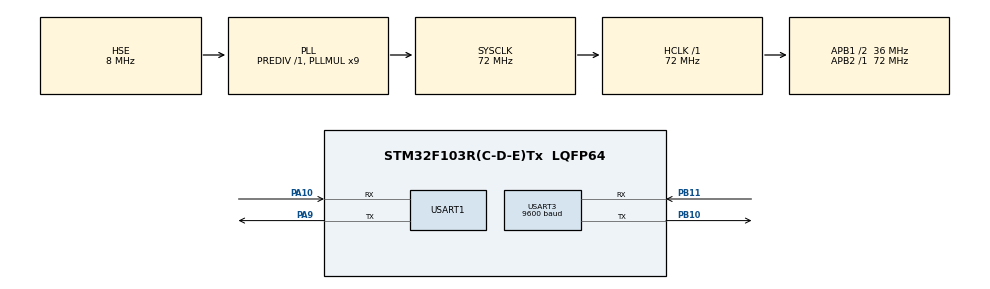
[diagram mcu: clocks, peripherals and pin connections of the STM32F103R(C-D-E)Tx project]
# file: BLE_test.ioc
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Dma.Request0=USART3_RX
Dma.Request1=USART1_RX
Dma.Request2=USART1_TX
Dma.Request3=USART3_TX
Dma.USART1_RX.1.Direction=DMA_PERIPH_TO_MEMORY
Dma.USART1_RX.1.Instance=DMA1_Channel5
Dma.USART1_RX.1.MemDataAlignment=DMA_MDATAALIGN_BYTE
Dma.USART1_RX.1.MemInc=DMA_MINC_ENABLE
Dma.USART1_RX.1.Mode=DMA_NORMAL
Dma.USART1_RX.1.PeriphDataAlignment=DMA_PDATAALIGN_BYTE
Dma.USART1_RX.1.PeriphInc=DMA_PINC_DISABLE
Dma.USART1_RX.1.Priority=DMA_PRIORITY_LOW
Dma.USART1_TX.2.Direction=DMA_MEMORY_TO_PERIPH
Dma.USART1_TX.2.Instance=DMA1_Channel4
Dma.USART1_TX.2.MemDataAlignment=DMA_MDATAALIGN_BYTE
Dma.USART1_TX.2.MemInc=DMA_MINC_ENABLE
Dma.USART1_TX.2.Mode=DMA_NORMAL
Dma.USART1_TX.2.PeriphDataAlignment=DMA_PDATAALIGN_BYTE
Dma.USART1_TX.2.PeriphInc=DMA_PINC_DISABLE
Dma.USART1_TX.2.Priority=DMA_PRIORITY_LOW
Dma.USART3_RX.0.Direction=DMA_PERIPH_TO_MEMORY
Dma.USART3_RX.0.Instance=DMA1_Channel3
Dma.USART3_RX.0.MemDataAlignment=DMA_MDATAALIGN_BYTE
Dma.USART3_RX.0.MemInc=DMA_MINC_ENABLE
Dma.USART3_RX.0.Mode=DMA_NORMAL
Dma.USART3_RX.0.PeriphDataAlignment=DMA_PDATAALIGN_BYTE
Dma.USART3_RX.0.PeriphInc=DMA_PINC_DISABLE
Dma.USART3_RX.0.Priority=DMA_PRIORITY_LOW
Dma.USART3_TX.3.Direction=DMA_MEMORY_TO_PERIPH
Dma.USART3_TX.3.Instance=DMA1_Channel2
Dma.USART3_TX.3.MemDataAlignment=DMA_MDATAALIGN_BYTE
Dma.USART3_TX.3.MemInc=DMA_MINC_ENABLE
Dma.USART3_TX.3.Mode=DMA_NORMAL
Dma.USART3_TX.3.PeriphDataAlignment=DMA_PDATAALIGN_BYTE
Dma.USART3_TX.3.PeriphInc=DMA_PINC_DISABLE
Dma.USART3_TX.3.Priority=DMA_PRIORITY_LOW
Mcu.Family=STM32F1
Mcu.Name=STM32F103R(C-D-E)Tx
Mcu.Package=LQFP64
NVIC.DMA1_Channel2_IRQn=true\:0\:0\:false\:false\:true\:false\:true
NVIC.DMA1_Channel3_IRQn=true\:0\:0\:false\:false\:true\:false\:true
NVIC.DMA1_Channel4_IRQn=true\:0\:0\:false\:false\:true\:false\:true
NVIC.DMA1_Channel5_IRQn=true\:0\:0\:false\:false\:true\:false\:true
NVIC.PriorityGroup=NVIC_PRIORITYGROUP_4
PA10.Mode=Asynchronous
PA10.Signal=USART1_RX
PA13.Mode=Serial_Wire
PA13.Signal=SYS_JTMS-SWDIO
PA14.Mode=Serial_Wire
PA14.Signal=SYS_JTCK-SWCLK
PA9.Mode=Asynchronous
PA9.Signal=USART1_TX
PB10.Mode=Asynchronous
PB10.Signal=USART3_TX
PB11.Mode=Asynchronous
PB11.Signal=USART3_RX
PC14-OSC32_IN.Mode=LSE-External-Oscillator
PC14-OSC32_IN.Signal=RCC_OSC32_IN
PC15-OSC32_OUT.Mode=LSE-External-Oscillator
PC15-OSC32_OUT.Signal=RCC_OSC32_OUT
PD0-OSC_IN.Mode=HSE-External-Oscillator
PD0-OSC_IN.Signal=RCC_OSC_IN
PD1-OSC_OUT.Mode=HSE-External-Oscillator
PD1-OSC_OUT.Signal=RCC_OSC_OUT
ProjectManager.HeapSize=0x200
ProjectManager.StackSize=0x400
ProjectManager.TargetToolchain=MDK-ARM V5.27
RCC.AHBFreq_Value=72000000
RCC.APB1CLKDivider=RCC_HCLK_DIV2
RCC.APB1Freq_Value=36000000
RCC.APB1TimFreq_Value=72000000
RCC.APB2Freq_Value=72000000
RCC.APB2TimFreq_Value=72000000
RCC.HCLKFreq_Value=72000000
RCC.PLLMUL=RCC_PLL_MUL9
RCC.PLLSourceVirtual=RCC_PLLSOURCE_HSE
RCC.SYSCLKFreq_VALUE=72000000
RCC.SYSCLKSource=RCC_SYSCLKSOURCE_PLLCLK
RCC.USBFreq_Value=72000000
USART1.VirtualMode=VM_ASYNC
USART3.BaudRate=9600
USART3.VirtualMode=VM_ASYNC
board=custom

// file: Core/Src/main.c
/* USER CODE BEGIN Header */
/**
  ******************************************************************************
  * @file           : main.c
  * @brief          : Main program body
  ******************************************************************************
  * @attention
  *
  * <h2><center>&copy; Copyright (c) 2020 STMicroelectronics.
  * All rights reserved.</center></h2>
  *
  * This software component is licensed by ST under BSD 3-Clause license,
  * the "License"; You may not use this file except in compliance with the
  * License. You may obtain a copy of the License at:
  *                        opensource.org/licenses/BSD-3-Clause
  *
  ******************************************************************************
  */
/* USER CODE END Header */
#include "main.h"
#include "dma.h"
#include "usart.h"
#include "gpio.h"

/* USER CODE BEGIN PV */
uint8_t b[20];

/* USER CODE END PV */

void SystemClock_Config(void);

int main(void)
{

  /* MCU Configuration--------------------------------------------------------*/

  /* Reset of all peripherals, Initializes the Flash interface and the Systick. */
  HAL_Init();

  /* Configure the system clock */
  SystemClock_Config();

  /* Initialize all configured peripherals */
  MX_GPIO_Init();
  MX_DMA_Init();
  MX_USART3_UART_Init();
  MX_USART1_UART_Init();

  /* Infinite loop */
  /* USER CODE BEGIN WHILE */
	HAL_Delay(100);
	uint8_t name[] = "AT+NANEBLE0000FF\r\n";
	uint8_t nameL[] = "AT+NLBLE0000FF\r\n";
	uint8_t hosten[] = "AT+ROLE0\r\n";
	uint8_t starten[] = "AT+STARTEN0\r\n";
	HAL_Delay(10);
	HAL_UART_Transmit(&huart3,name,1,100);
	HAL_Delay(10);
	HAL_UART_Transmit(&huart3,nameL,1,100);
	HAL_Delay(10);
	HAL_UART_Transmit(&huart3,hosten,1,100);
	HAL_UART_Transmit(&huart3,starten,1,100);
	HAL_Delay(10);
  while (1)
  {
		uint8_t a[] = "abc";
		HAL_UART_Transmit(&huart3,a,3,100);
    /* USER CODE END WHILE */

  }
}

void SystemClock_Config(void)
{
  RCC_OscInitTypeDef RCC_OscInitStruct = {0};
  RCC_ClkInitTypeDef RCC_ClkInitStruct = {0};

  /** Initializes the RCC Oscillators according to the specified parameters
  * in the RCC_OscInitTypeDef structure.
  */
  RCC_OscInitStruct.OscillatorType = RCC_OSCILLATORTYPE_HSE;
  RCC_OscInitStruct.HSEState = RCC_HSE_ON;
  RCC_OscInitStruct.HSEPredivValue = RCC_HSE_PREDIV_DIV1;
  RCC_OscInitStruct.HSIState = RCC_HSI_ON;
  RCC_OscInitStruct.PLL.PLLState = RCC_PLL_ON;
  RCC_OscInitStruct.PLL.PLLSource = RCC_PLLSOURCE_HSE;
  RCC_OscInitStruct.PLL.PLLMUL = RCC_PLL_MUL9;
  if (HAL_RCC_OscConfig(&RCC_OscInitStruct) != HAL_OK)
  {
    Error_Handler();
  }
  /** Initializes the CPU, AHB and APB buses clocks
  */
  RCC_ClkInitStruct.ClockType = RCC_CLOCKTYPE_HCLK|RCC_CLOCKTYPE_SYSCLK
                              |RCC_CLOCKTYPE_PCLK1|RCC_CLOCKTYPE_PCLK2;
  RCC_ClkInitStruct.SYSCLKSource = RCC_SYSCLKSOURCE_PLLCLK;
  RCC_ClkInitStruct.AHBCLKDivider = RCC_SYSCLK_DIV1;
  RCC_ClkInitStruct.APB1CLKDivider = RCC_HCLK_DIV2;
  RCC_ClkInitStruct.APB2CLKDivider = RCC_HCLK_DIV1;

  if (HAL_RCC_ClockConfig(&RCC_ClkInitStruct, FLASH_LATENCY_2) != HAL_OK)
  {
    Error_Handler();
  }
}

void Error_Handler(void)
{
}

/************************ (C) COPYRIGHT STMicroelectronics *****END OF FILE****/
